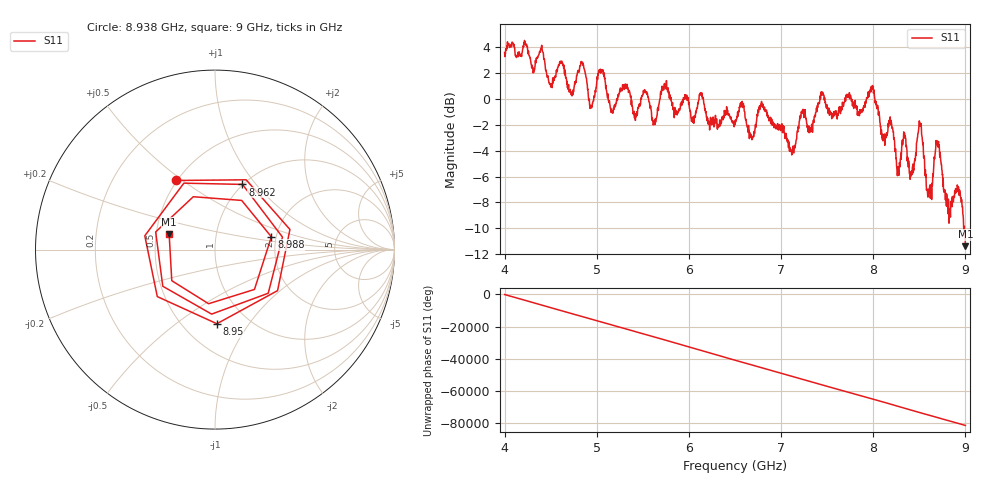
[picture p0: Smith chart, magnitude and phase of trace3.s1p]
! Created with skrf 1.8.0 (http://scikit-rf.org).
# Hz S RI R 50.0
!freq ReS11 ImS11
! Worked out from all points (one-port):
!   1601 points, 4 GHz to 9 GHz, reference 50 ohm
!   lowest |S11| = -11.4 dB at 9 GHz (marker M1), VSWR 1.74, Z = 29.3 + j5.46 ohm
!   |S11| at or under -10 dB: 8.981974 GHz to 8.985757 GHz (3.782 MHz wide, 0.0421 % of centre); 8.989799 GHz to end of sweep
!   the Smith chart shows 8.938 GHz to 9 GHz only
!   S11 on the Smith chart (normalised r, x): 8.938 GHz: 0.49, +0.47; 8.95 GHz: 0.72, -0.72; 8.962 GHz: 0.99, +0.86; 8.988 GHz: 1.88, +0.30; 9 GHz: 0.59, +0.11
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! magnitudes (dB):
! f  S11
! 4 GHz  3.6
! 4.625 GHz  2.9
! 4.722 GHz  0.3
! 4.847 GHz  2.8
! 4.938 GHz  -0.7
! 5.044 GHz  2.0
! 5.162 GHz  -0.9
! 5.25 GHz  0.7
! 5.875 GHz  -1.0
! 6.5 GHz  -2.0
! 6.681 GHz  -2.9
! 6.797 GHz  -0.5
! 7.125 GHz  -4.0
! 7.234 GHz  -0.9
! 7.75 GHz  0.3
! 7.988 GHz  0.7
! 8.269 GHz  -5.2
! 8.375 GHz  -5.0
! 8.419 GHz  -5.7
! 8.509 GHz  -2.1
! 8.6 GHz  -7.0
! 8.7 GHz  -3.5
! 8.812 GHz  -8.9
! 8.938 GHz  -7.1
! 8.95 GHz  -7.7
! 8.962 GHz  -8.1
! 8.988 GHz  -9.8
! 9 GHz  -11.4
